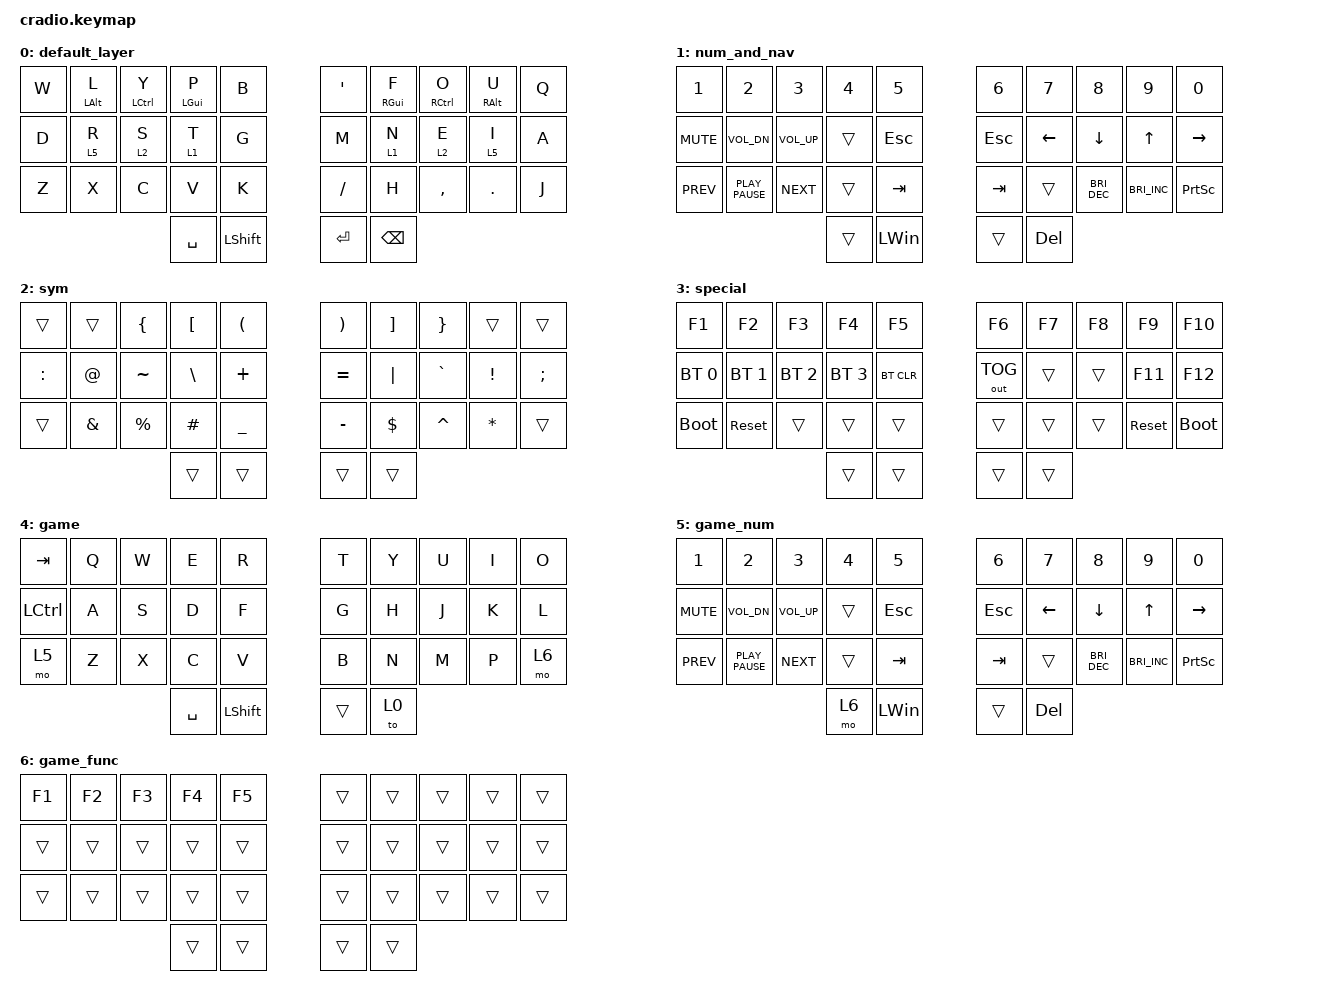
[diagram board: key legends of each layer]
// Copyright (c) 2022 The ZMK Contributors
// SPDX-License-Identifier: MIT

#include <behaviors.dtsi>
#include <dt-bindings/zmk/bt.h>
#include <dt-bindings/zmk/keys.h>
#include <dt-bindings/zmk/outputs.h>

// Home row mods macro
//define HRML(k1,k2,k3,k4) &ht LSHFT k1  &ht LALT k2  &ht LCTRL k3  &ht LGUI k4
//define HRMR(k1,k2,k3,k4) &ht RGUI k1  &ht RCTRL k2  &ht RALT k3  &ht RSHFT k4

/ {
    behaviors {
        ht: hold_tap {
            compatible = "zmk,behavior-hold-tap";
            #binding-cells = <2>;
            flavor = "tap-preferred";
            tapping-term-ms = <200>;
            quick-tap-ms = <175>;
            require-prior-idle-ms = <150>;
            bindings = <&kp>, <&kp>;
        };

        hml: hml {
            compatible = "zmk,behavior-hold-tap";
            label = "HML";
            bindings = <&kp>, <&kp>;

            #binding-cells = <2>;
            tapping-term-ms = <300>;
            quick-tap-ms = <175>;
            require-prior-idle-ms = <150>;
            flavor = "balanced";
            hold-trigger-on-release;
            hold-trigger-key-positions = <30 31 32 33 5 6 7 8 9 15 16 17 18 19 25 26 27 28 29>;
        };

        hml_layer: hml_layer {
            compatible = "zmk,behavior-hold-tap";
            label = "HML_LAYER";
            bindings = <&mo>, <&kp>;

            #binding-cells = <2>;
            tapping-term-ms = <300>;
            quick-tap-ms = <175>;
            require-prior-idle-ms = <150>;
            flavor = "balanced";
            hold-trigger-on-release;
            hold-trigger-key-positions = <30 31 32 33 5 6 7 8 9 15 16 17 18 19 25 26 27 28 29>;
        };

        hmr: hmr {
            compatible = "zmk,behavior-hold-tap";
            label = "HMR";
            bindings = <&kp>, <&kp>;

            #binding-cells = <2>;
            tapping-term-ms = <300>;
            quick-tap-ms = <175>;
            require-prior-idle-ms = <150>;
            flavor = "balanced";
            hold-trigger-on-release;
            hold-trigger-key-positions = <30 31 32 33 0 1 2 3 4 10 11 12 13 14 20 21 22 23 24>;
        };

        hmr_layer: hmr_layer {
            compatible = "zmk,behavior-hold-tap";
            label = "HMR_LAYER";
            bindings = <&mo>, <&kp>;

            #binding-cells = <2>;
            tapping-term-ms = <300>;
            quick-tap-ms = <175>;
            require-prior-idle-ms = <150>;
            flavor = "balanced";
            hold-trigger-on-release;
            hold-trigger-key-positions = <30 31 32 33 0 1 2 3 4 10 11 12 13 14 20 21 22 23 24>;
        };
    };

    conditional_layers { compatible = "zmk,conditional-layers"; };

    combos {
        compatible = "zmk,combos";

        combo_gametime {
            bindings = <&to 3>;
            key-positions = <30 33 14>;
        };
    };

    keymap {
        compatible = "zmk,keymap";

        default_layer {
            bindings = <
&kp W  &hml LALT L     &hml LCTRL Y    &hml LGUI P     &kp B        &kp SQT     &hmr RGUI F     &hmr RCTRL O    &hmr RALT U     &kp Q
&kp D  &hml_layer 5 R  &hml_layer 2 S  &hml_layer 1 T  &kp G        &kp M       &hmr_layer 1 N  &hmr_layer 2 E  &hmr_layer 5 I  &kp A
&kp Z  &kp X           &kp C           &kp V           &kp K        &kp SLASH   &kp H           &kp COMMA       &kp DOT         &kp J
                                       &kp SPACE       &kp LSHFT    &kp RETURN  &kp BACKSPACE
            >;
        };

        num_and_nav {
            bindings = <
&kp NUMBER_1  &kp NUMBER_2      &kp NUMBER_3  &kp NUMBER_4  &kp NUMBER_5    &kp NUMBER_6  &kp NUMBER_7  &kp NUMBER_8          &kp NUMBER_9          &kp NUMBER_0
&kp K_MUTE    &kp C_VOL_DN      &kp C_VOL_UP  &trans        &kp ESCAPE      &kp ESCAPE    &kp LEFT      &kp DOWN              &kp UP                &kp RIGHT
&kp K_PREV    &kp K_PLAY_PAUSE  &kp K_NEXT    &trans        &kp TAB         &kp TAB       &trans        &kp C_BRIGHTNESS_DEC  &kp C_BRIGHTNESS_INC  &kp PRINTSCREEN
                                              &trans        &kp LEFT_WIN    &trans        &kp DEL
            >;
        };

        sym {
            bindings = <
&trans     &trans         &kp LEFT_BRACE  &kp LEFT_BRACKET  &kp LEFT_PARENTHESIS    &kp RIGHT_PARENTHESIS  &kp RIGHT_BRACKET  &kp RIGHT_BRACE  &trans           &trans
&kp COLON  &kp AT         &kp TILDE       &kp BACKSLASH     &kp PLUS                &kp EQUAL              &kp PIPE           &kp GRAVE        &kp EXCLAMATION  &kp SEMICOLON
&trans     &kp AMPERSAND  &kp PERCENT     &kp HASH          &kp UNDERSCORE          &kp MINUS              &kp DOLLAR         &kp CARET        &kp ASTERISK     &trans
                                          &trans            &trans                  &trans                 &trans
            >;
        };

        special {
            bindings = <
&kp F1        &kp F2        &kp F3        &kp F4        &kp F5        &kp F6        &kp F7  &kp F8  &kp F9      &kp F10
&bt BT_SEL 0  &bt BT_SEL 1  &bt BT_SEL 2  &bt BT_SEL 3  &bt BT_CLR    &out OUT_TOG  &trans  &trans  &kp F11     &kp F12
&bootloader   &sys_reset    &trans        &trans        &trans        &trans        &trans  &trans  &sys_reset  &bootloader
                                          &trans        &trans        &trans        &trans
            >;
        };

        game {
            bindings = <
&kp TAB    &kp Q  &kp W  &kp E      &kp R             &kp T   &kp Y  &kp U  &kp I  &kp O
&kp LCTRL  &kp A  &kp S  &kp D      &kp F             &kp G   &kp H  &kp J  &kp K  &kp L
&mo 5      &kp Z  &kp X  &kp C      &kp V             &kp B   &kp N  &kp M  &kp P  &mo 6
                         &kp SPACE  &kp LEFT_SHIFT    &trans  &to 0
            >;
        };

        game_num {
            bindings = <
&kp NUMBER_1  &kp NUMBER_2      &kp NUMBER_3  &kp NUMBER_4  &kp NUMBER_5    &kp NUMBER_6  &kp NUMBER_7  &kp NUMBER_8          &kp NUMBER_9          &kp NUMBER_0
&kp K_MUTE    &kp C_VOL_DN      &kp C_VOL_UP  &trans        &kp ESCAPE      &kp ESCAPE    &kp LEFT      &kp DOWN              &kp UP                &kp RIGHT
&kp K_PREV    &kp K_PLAY_PAUSE  &kp K_NEXT    &trans        &kp TAB         &kp TAB       &trans        &kp C_BRIGHTNESS_DEC  &kp C_BRIGHTNESS_INC  &kp PRINTSCREEN
                                              &mo 6         &kp LEFT_WIN    &trans        &kp DEL
            >;
        };

        game_func {
            bindings = <
&kp F1  &kp F2  &kp F3  &kp F4  &kp F5    &trans  &trans  &trans  &trans  &trans
&trans  &trans  &trans  &trans  &trans    &trans  &trans  &trans  &trans  &trans
&trans  &trans  &trans  &trans  &trans    &trans  &trans  &trans  &trans  &trans
                        &trans  &trans    &trans  &trans
            >;
        };
    };
};
